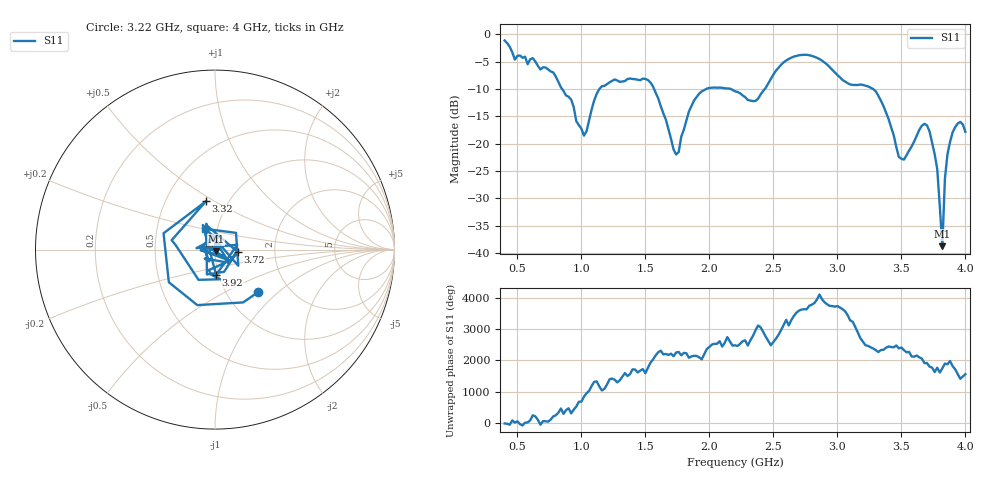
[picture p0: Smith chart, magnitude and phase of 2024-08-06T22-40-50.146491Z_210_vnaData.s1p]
!Created with skrf (http://scikit-rf.org).
# Hz S RI R 50.0
!freq ReS11 ImS11
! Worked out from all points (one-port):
!   181 points, 400 MHz to 4 GHz, reference 50 ohm
!   lowest |S11| = -38.8 dB at 3.82 GHz (marker M1), VSWR 1.02, Z = 50.6 - j0.984 ohm
!   |S11| at or under -10 dB: 848.9 MHz to 1.141 GHz (292 MHz wide, 29.4 % of centre); 1.568 GHz to 1.976 GHz (408 MHz wide, 23 % of centre); 3.278 GHz to end of sweep (the widest 3 of 4)
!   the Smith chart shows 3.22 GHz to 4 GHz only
!   S11 on the Smith chart (normalised r, x): 3.22 GHz: 1.41, -0.75; 3.32 GHz: 0.79, +0.46; 3.72 GHz: 1.29, -0.04; 3.92 GHz: 0.97, -0.28; 4 GHz: 0.87, +0.21
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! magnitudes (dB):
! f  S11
! 400 MHz  -1.1
! 480 MHz  -4.6
! 620 MHz  -4.4
! 860 MHz  -10.4
! 1.02 GHz  -18.5
! 1.14 GHz  -10.0
! 1.3 GHz  -8.7
! 1.54 GHz  -8.8
! 1.76 GHz  -21.6
! 1.84 GHz  -14.1
! 1.92 GHz  -10.9
! 2.2 GHz  -10.4
! 2.36 GHz  -12.2
! 2.66 GHz  -4.1
! 2.86 GHz  -4.5
! 3.1 GHz  -9.2
! 3.22 GHz  -9.4
! 3.32 GHz  -11.3
! 3.48 GHz  -22.4
! 3.56 GHz  -21.3
! 3.66 GHz  -16.7
! 3.72 GHz  -17.8
! 3.78 GHz  -24.7
! 3.82 GHz  -38.8
! 3.84 GHz  -26.4
! 3.86 GHz  -21.9
! 3.92 GHz  -17.0
! 4 GHz  -17.9
